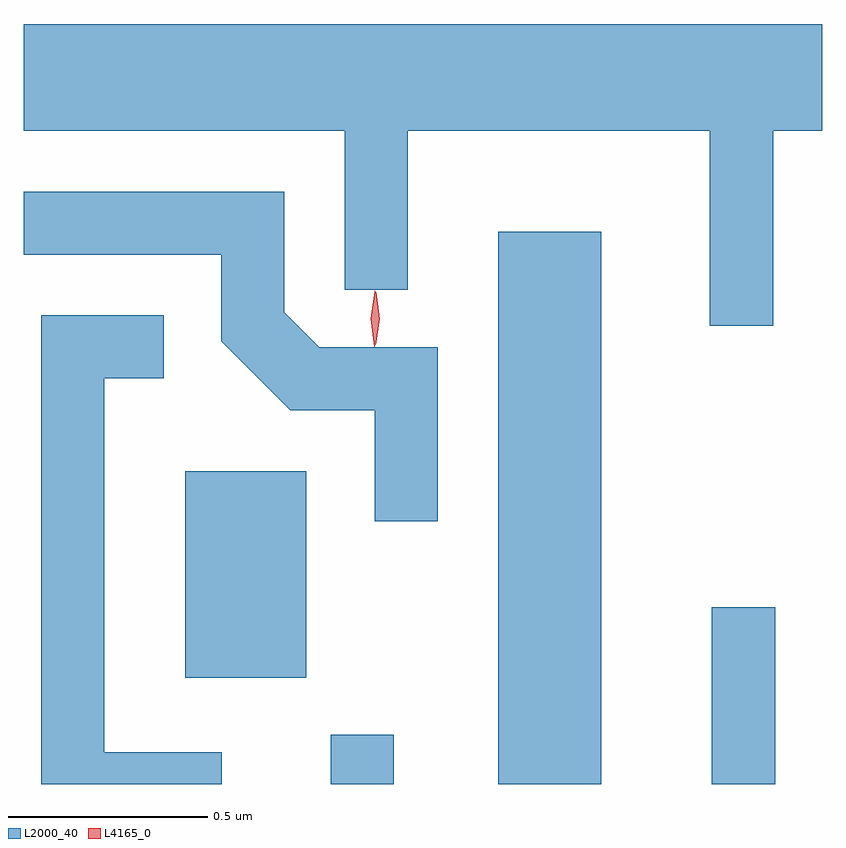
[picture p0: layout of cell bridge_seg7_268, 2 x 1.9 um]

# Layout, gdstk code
import gdstk
lib = gdstk.Library(unit=1e-6, precision=1e-09)
def R(c, l, rs):  # rectangles x0, y0, x1, y1
    for r in rs: c.add(gdstk.rectangle(r[:2], r[2:], *l))
def P(c, l, *ps):  # polygons
    for p in ps: c.add(gdstk.Polygon(p, *l))
L2000_40 = (2000, 40)
L4165_0 = (4165, 0)

bridge_seg7_268 = lib.new_cell('bridge_seg7_268')
R(bridge_seg7_268, L2000_40, [(1784.786,1714.9,1784.944,1715.023), (1785.206,1714.9,1785.464,1716.284), (1785.741,1714.9,1785.899,1715.343), (1784.421,1715.166,1784.724,1715.684)])
P(bridge_seg7_268, L2000_40, [(1785.894,1716.536),(1786.017,1716.536),(1786.017,1716.804),(1784.017,1716.804),(1784.017,1716.536),(1784.821,1716.536),(1784.821,1716.138),(1784.979,1716.138),(1784.979,1716.536),(1785.736,1716.536),(1785.736,1716.048),(1785.894,1716.048)],
  [(1785.054,1715.994),(1784.757,1715.994),(1784.669,1716.082),(1784.669,1716.384),(1784.017,1716.384),(1784.017,1716.226),(1784.511,1716.226),(1784.511,1716.009),(1784.684,1715.836),(1784.896,1715.836),(1784.896,1715.558),(1785.054,1715.558)],
  [(1784.513,1714.979),(1784.219,1714.979),(1784.219,1715.916),(1784.368,1715.916),(1784.368,1716.074),(1784.061,1716.074),(1784.061,1714.9),(1784.513,1714.9)])
P(bridge_seg7_268, L4165_0, [(1784.898,1715.999),(1784.898,1715.999),(1784.889,1716.066),(1784.899,1716.132),(1784.899,1716.132),(1784.9,1716.132),(1784.909,1716.065),(1784.899,1715.999)],
  [(1784.895,1715.996),(1784.895,1715.997),(1784.886,1716.066),(1784.896,1716.135),(1784.896,1716.136),(1784.897,1716.135),(1784.906,1716.066),(1784.896,1715.997)])

lib.write_gds('bridge_seg7_268.gds')
